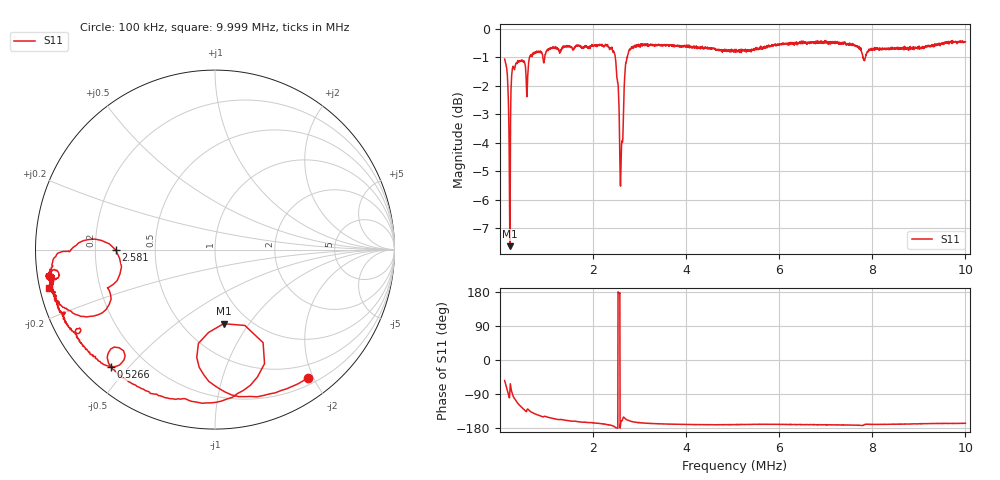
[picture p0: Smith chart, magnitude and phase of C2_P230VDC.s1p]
# HZ S RI R 50
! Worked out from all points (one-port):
!   2020 points, 100 kHz to 9.999 MHz, reference 50 ohm
!   lowest |S11| = -7.6 dB at 212.8 kHz (marker M1), VSWR 2.42, Z = 38.4 - j38.3 ohm
!   |S11| at or under -10 dB: nowhere
!   S11 on the Smith chart (normalised r, x): 100 kHz: 0.29, -1.92; 526.6 kHz: 0.08, -0.45; 2.581 MHz: 0.29, -0.00; 9.999 MHz: 0.03, -0.11
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100000  0.519 -0.7159
139224  0.2704 -0.8128
163739  0.0931 -0.8099
212769  0.0479 -0.4128
266702  0.00689 -0.8506
305926  -0.1599 -0.8332
403986  -0.3992 -0.7775
526561  -0.5787 -0.653
649136  -0.6355 -0.6315
855062  -0.7631 -0.4983
1340459  -0.8566 -0.3545
2134745  -0.9128 -0.2068
2419119  -0.9116 -0.0987
2492664  -0.8627 -0.015
2531888  -0.8044 -0.00194
2576015  -0.5886 0.0318
2580918  -0.5536 -0.00179
2625045  -0.5973 -0.214
2698590  -0.7892 -0.3547
2777038  -0.8651 -0.3087
2924128  -0.8962 -0.2501
3816474  -0.9199 -0.1681
5052030  -0.8959 -0.1526
6287586  -0.9298 -0.1572
7528045  -0.9279 -0.1395
7836934  -0.8695 -0.1461
8763601  -0.9087 -0.1788
9999157  -0.9236 -0.2144
